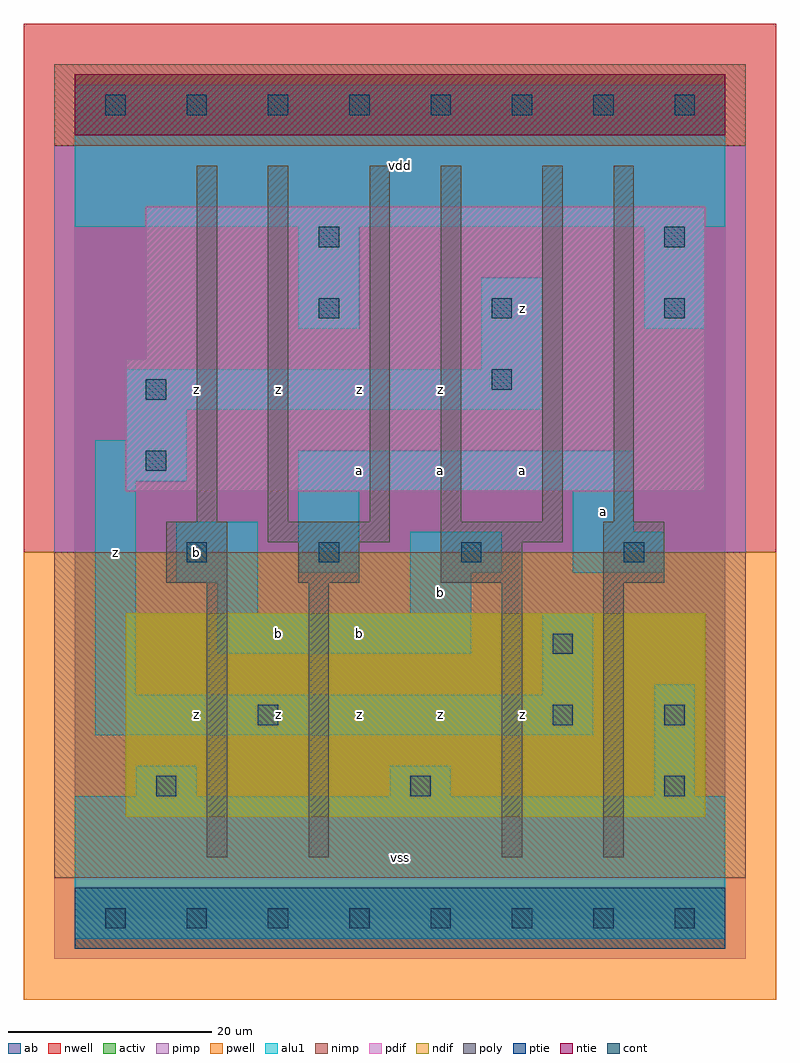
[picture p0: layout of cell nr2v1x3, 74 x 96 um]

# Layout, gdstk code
import gdstk
lib = gdstk.Library(unit=1e-6, precision=1e-09)
def R(c, l, rs):  # rectangles x0, y0, x1, y1
    for r in rs: c.add(gdstk.rectangle(r[:2], r[2:], *l))
def A(c, l, x, y, w, h, nx, ny, dx, dy):  # array of equal rectangles
    R(c, l, [(x+i*dx, y+j*dy, x+i*dx+w, y+j*dy+h) for i in range(nx) for j in range(ny)])
ndif = (3, 0)
pdif = (4, 0)
ntie = (5, 0)
ptie = (6, 0)
cont = (25, 0)
pwell = (41, 0)
nwell = (42, 0)
activ = (43, 0)
pimp = (44, 0)
nimp = (45, 0)
poly = (46, 0)
alu1 = (49, 0)
ab = (63, 0)

nr2v1x3 = lib.new_cell('nr2v1x3')
R(nr2v1x3, ndif, [(5,10,62,30)])
R(nr2v1x3, pdif, [(5,42,62,55), (7,55,62,70)])
R(nr2v1x3, ntie, [(0,77,64,83)])
R(nr2v1x3, ptie, [(0,-3,64,3)])
A(nr2v1x3, cont, 3, -1, 2, 2, 8, 2, 8, 80)
A(nr2v1x3, cont, 8, 12, 2, 2, 3, 1, 25, 0)
A(nr2v1x3, cont, 24, 59, 2, 2, 3, 1, 17, 0)
R(nr2v1x3, cont, [(18,19,20,21), (47,19,49,21), (58,19,60,21), (47,26,49,28), (11,35,13,37), (24,35,26,37), (38,35,40,37), (54,35,56,37), (7,44,9,46), (7,51,9,53), (41,52,43,54), (24,66,26,68), (58,66,60,68)])
R(nr2v1x3, pwell, [(-5,-8,69,36)])
R(nr2v1x3, nwell, [(-5,36,69,88)])
R(nr2v1x3, activ, [(0,-3,64,3), (5,10,62,30), (5,42,62,55), (7,55,62,70), (0,77,64,83)])
R(nr2v1x3, pimp, [(-2,-4,66,4), (-2,36,66,76)])
R(nr2v1x3, nimp, [(-2,4,66,36), (-2,76,66,84)])
R(nr2v1x3, poly, [(13,6,15,33), (23,6,25,33), (42,6,44,33), (52,6,54,33), (9,33,15,39), (22,33,28,37), (36,33,44,37), (52,33,58,39), (19,37,31,39), (36,37,48,39), (12,39,14,74), (19,39,21,74), (29,39,31,74), (36,39,38,74), (46,39,48,74), (53,39,55,74)])
R(nr2v1x3, alu1, [(0,-2,64,12), (6,12,12,15), (31,12,37,15), (57,12,61,23), (2,18,51,22), (2,22,6,43), (46,22,51,30), (14,26,39,30), (14,30,18,33), (33,30,39,34), (10,33,18,39), (22,34,28,42), (33,34,42,38), (49,34,58,38), (49,38,55,42), (22,42,55,46), (2,43,11,47), (5,47,11,50), (5,50,46,54), (40,54,46,63), (22,58,28,68), (56,58,62,68), (0,68,64,82)])
R(nr2v1x3, ab, [(0,0,64,80)])
nr2v1x3.add(gdstk.Label('z', (12,20), layer=49, texttype=0))
nr2v1x3.add(gdstk.Label('b', (12,36), layer=49, texttype=0))
nr2v1x3.add(gdstk.Label('z', (4,36), layer=49, texttype=0))
nr2v1x3.add(gdstk.Label('z', (12,52), layer=49, texttype=0))
nr2v1x3.add(gdstk.Label('z', (20,20), layer=49, texttype=0))
nr2v1x3.add(gdstk.Label('z', (28,20), layer=49, texttype=0))
nr2v1x3.add(gdstk.Label('b', (28,28), layer=49, texttype=0))
nr2v1x3.add(gdstk.Label('b', (20,28), layer=49, texttype=0))
nr2v1x3.add(gdstk.Label('a', (28,44), layer=49, texttype=0))
nr2v1x3.add(gdstk.Label('z', (28,52), layer=49, texttype=0))
nr2v1x3.add(gdstk.Label('z', (20,52), layer=49, texttype=0))
nr2v1x3.add(gdstk.Label('vss', (32,6), layer=49, texttype=0))
nr2v1x3.add(gdstk.Label('z', (44,20), layer=49, texttype=0))
nr2v1x3.add(gdstk.Label('z', (36,20), layer=49, texttype=0))
nr2v1x3.add(gdstk.Label('b', (36,32), layer=49, texttype=0))
nr2v1x3.add(gdstk.Label('a', (44,44), layer=49, texttype=0))
nr2v1x3.add(gdstk.Label('a', (36,44), layer=49, texttype=0))
nr2v1x3.add(gdstk.Label('z', (36,52), layer=49, texttype=0))
nr2v1x3.add(gdstk.Label('z', (44,60), layer=49, texttype=0))
nr2v1x3.add(gdstk.Label('vdd', (32,74), layer=49, texttype=0))
nr2v1x3.add(gdstk.Label('a', (52,40), layer=49, texttype=0))

lib.write_gds('nr2v1x3.gds')
